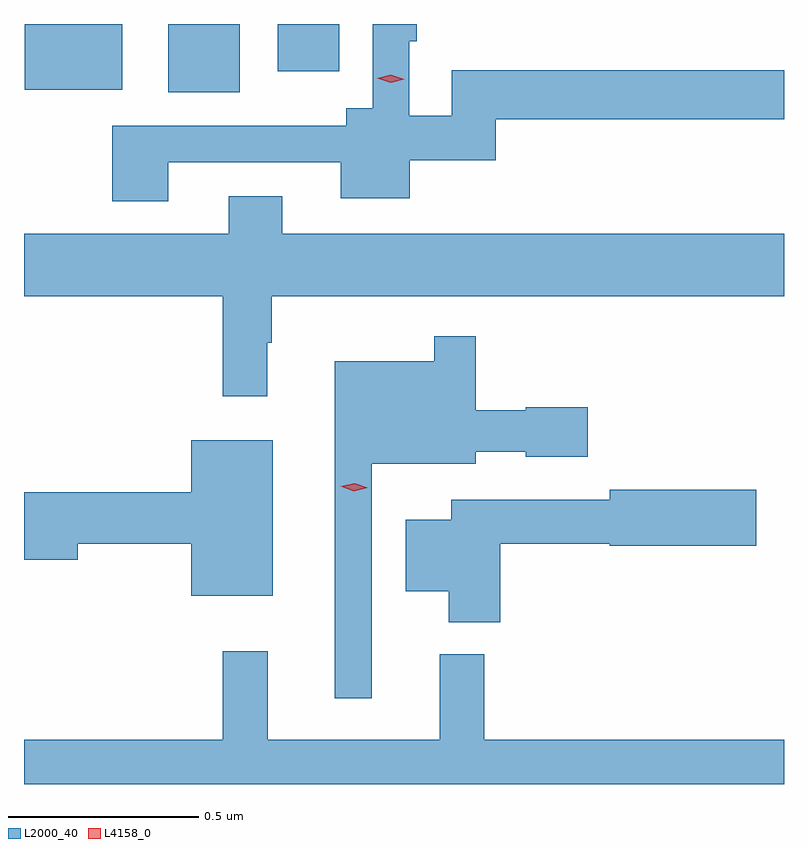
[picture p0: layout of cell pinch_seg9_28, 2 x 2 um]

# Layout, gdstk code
import gdstk
lib = gdstk.Library(unit=1e-6, precision=1e-09)
def R(c, l, rs):  # rectangles x0, y0, x1, y1
    for r in rs: c.add(gdstk.rectangle(r[:2], r[2:], *l))
def P(c, l, *ps):  # polygons
    for p in ps: c.add(gdstk.Polygon(p, *l))
L2000_40 = (2000, 40)
L4158_0 = (4158, 0)

pinch_seg9_28 = lib.new_cell('pinch_seg9_28')
R(pinch_seg9_28, L2000_40, [(934.97,1247.573,935.158,1247.752), (934.592,1247.579,934.849,1247.752), (935.258,1247.628,935.419,1247.752)])
P(pinch_seg9_28, L2000_40, [(934.969,1247.388),(935.423,1247.388),(935.423,1247.294),(935.605,1247.294),(935.605,1247.393),(935.831,1247.393),(935.831,1247.502),(936.59,1247.502),(936.59,1247.63),(935.715,1247.63),(935.715,1247.51),(935.604,1247.51),(935.604,1247.707),(935.624,1247.707),(935.624,1247.752),(935.508,1247.752),(935.508,1247.53),(935.438,1247.53),(935.438,1247.484),(934.822,1247.484),(934.822,1247.286),(934.969,1247.286)],
  [(935.23,1246.913),(935.242,1246.913),(935.242,1247.036),(936.59,1247.036),(936.59,1247.2),(935.269,1247.2),(935.269,1247.299),(935.129,1247.299),(935.129,1247.2),(934.59,1247.2),(934.59,1247.036),(935.113,1247.036),(935.113,1246.773),(935.23,1246.773)],
  [(935.505,1246.595),(935.779,1246.595),(935.779,1246.626),(935.91,1246.626),(935.91,1246.613),(936.073,1246.613),(936.073,1246.743),(935.91,1246.743),(935.91,1246.735),(935.779,1246.735),(935.779,1246.93),(935.67,1246.93),(935.67,1246.864),(935.408,1246.864),(935.408,1245.978),(935.505,1245.978)],
  [(935.245,1246.657),(935.03,1246.657),(935.03,1246.52),(934.59,1246.52),(934.59,1246.342),(934.732,1246.342),(934.732,1246.384),(935.03,1246.384),(935.03,1246.247),(935.245,1246.247)],
  [(935.843,1246.384),(936.132,1246.384),(936.132,1246.379),(936.517,1246.379),(936.517,1246.526),(936.132,1246.526),(936.132,1246.5),(935.714,1246.5),(935.714,1246.447),(935.594,1246.447),(935.594,1246.259),(935.708,1246.259),(935.708,1246.178),(935.843,1246.178)],
  [(936.59,1245.868),(935.801,1245.868),(935.801,1246.093),(935.684,1246.093),(935.684,1245.868),(935.231,1245.868),(935.231,1246.102),(935.113,1246.102),(935.113,1245.868),(934.59,1245.868),(934.59,1245.752),(936.59,1245.752)])
P(pinch_seg9_28, L4158_0, [(935.555,1247.598),(935.52,1247.609),(935.52,1247.609),(935.52,1247.609),(935.555,1247.618),(935.59,1247.607),(935.59,1247.606),(935.59,1247.606)],
  [(935.458,1246.523),(935.424,1246.535),(935.423,1246.535),(935.424,1246.535),(935.46,1246.543),(935.495,1246.531),(935.495,1246.531),(935.495,1246.531)])

lib.write_gds('pinch_seg9_28.gds')
